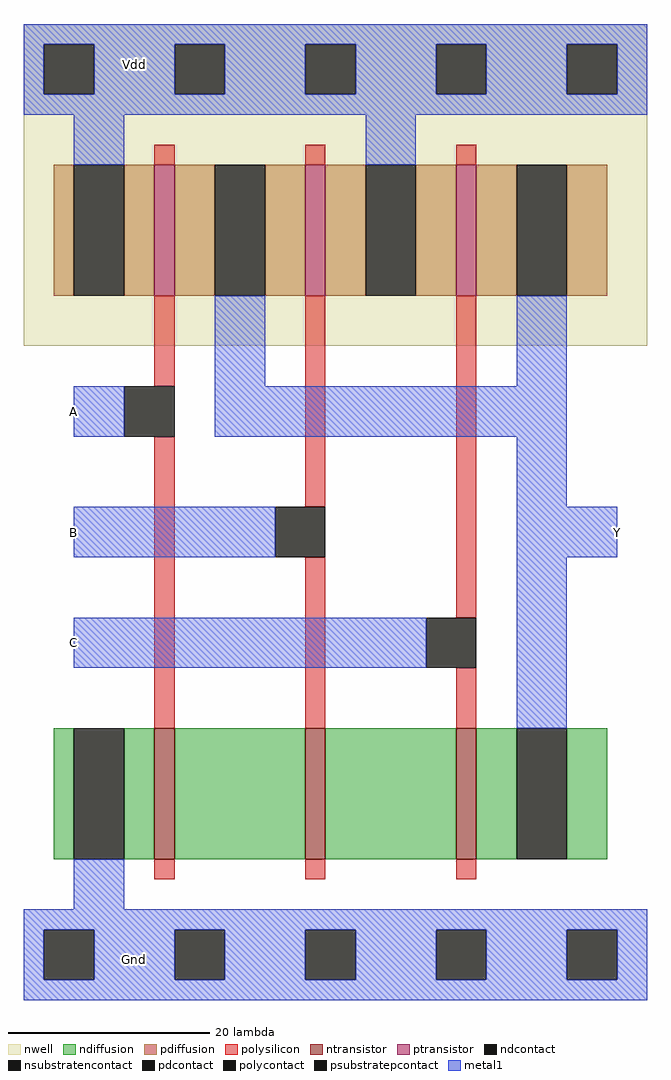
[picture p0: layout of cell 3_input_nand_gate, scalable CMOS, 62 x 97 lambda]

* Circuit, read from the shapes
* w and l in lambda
.subckt 3_input_nand_gate A B C Gnd Vdd Y
M1 n1 A Gnd Gnd nfet w=13 l=2
M2 n2 B n1 Gnd nfet w=13 l=2
M3 Y C n2 Gnd nfet w=13 l=2
M4 Y A Vdd Vdd pfet w=13 l=2
M5 Vdd B Y Vdd pfet w=13 l=2
M6 Y C Vdd Vdd pfet w=13 l=2
.ends

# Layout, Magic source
magic
tech scmos
<< nwell >>
rect -19 25 43 57
<< polysilicon >>
rect -6 43 -4 45
rect 9 43 11 45
rect 24 43 26 45
rect -6 21 -4 30
rect -6 -13 -4 16
rect 9 9 11 30
rect 9 -13 11 4
rect 24 -2 26 30
rect 24 -13 26 -7
rect -6 -28 -4 -26
rect 9 -28 11 -26
rect 24 -28 26 -26
<< ndiffusion >>
rect -16 -26 -14 -13
rect -9 -26 -6 -13
rect -4 -26 9 -13
rect 11 -26 24 -13
rect 26 -26 30 -13
rect 35 -26 39 -13
<< pdiffusion >>
rect -16 30 -14 43
rect -9 30 -6 43
rect -4 30 0 43
rect 5 30 9 43
rect 11 30 15 43
rect 20 30 24 43
rect 26 30 30 43
rect 35 30 39 43
<< metal1 >>
rect -19 55 43 57
rect -19 50 -17 55
rect -12 50 -4 55
rect 1 50 9 55
rect 14 50 22 55
rect 27 50 35 55
rect 40 50 43 55
rect -19 48 43 50
rect -14 43 -9 48
rect 15 43 20 48
rect 0 21 5 30
rect 30 21 35 30
rect -14 16 -9 21
rect 0 16 35 21
rect 30 9 35 16
rect -14 4 6 9
rect 30 4 40 9
rect -14 -7 21 -2
rect 30 -13 35 4
rect -14 -31 -9 -26
rect -19 -33 43 -31
rect -19 -38 -17 -33
rect -12 -38 -4 -33
rect 1 -38 9 -33
rect 14 -38 22 -33
rect 27 -38 35 -33
rect 40 -38 43 -33
rect -19 -40 43 -38
<< ntransistor >>
rect -6 -26 -4 -13
rect 9 -26 11 -13
rect 24 -26 26 -13
<< ptransistor >>
rect -6 30 -4 43
rect 9 30 11 43
rect 24 30 26 43
<< polycontact >>
rect -9 16 -4 21
rect 6 4 11 9
rect 21 -7 26 -2
<< ndcontact >>
rect -14 -26 -9 -13
rect 30 -26 35 -13
<< pdcontact >>
rect -14 30 -9 43
rect 0 30 5 43
rect 15 30 20 43
rect 30 30 35 43
<< psubstratepcontact >>
rect -17 -38 -12 -33
rect -4 -38 1 -33
rect 9 -38 14 -33
rect 22 -38 27 -33
rect 35 -38 40 -33
<< nsubstratencontact >>
rect -17 50 -12 55
rect -4 50 1 55
rect 9 50 14 55
rect 22 50 27 55
rect 35 50 40 55
<< labels >>
rlabel metal1 -8 53 -8 53 5 Vdd
rlabel metal1 -8 -36 -8 -36 1 Gnd
rlabel metal1 -14 16 -14 21 3 A
rlabel metal1 -14 4 -14 9 3 B
rlabel metal1 -14 -7 -14 -2 3 C
rlabel metal1 40 4 40 9 7 Y
<< end >>
